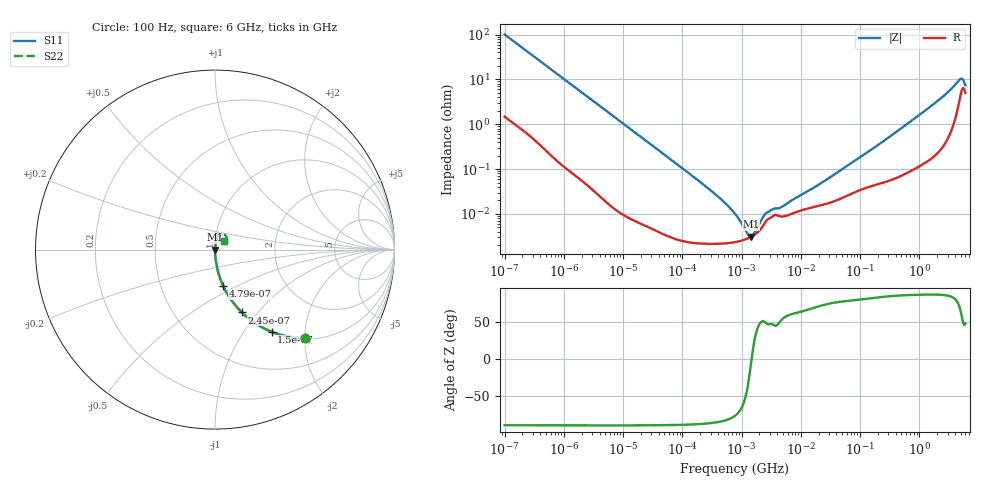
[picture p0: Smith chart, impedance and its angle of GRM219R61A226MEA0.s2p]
!Murata Part Number: GRM219R61A226MEA0
!These Parameters are Measured in Series Mode Connection
!Data Generated on Mar 30, 2021
!  o--ll--o
!Port1  Port2
!  o------o
!Operation Temp=25[degC], DC Bias Voltage=0[V]
!Freq. Start=100[Hz] Stop=6[GHz] 401[Steps]
# Hz S RI R 50
!Freq.(Hz) S11(Real) S11(Imag) S21(Real) S21(Imag) S12(Real) S12(Imag) S22(Real) S22(Imag)
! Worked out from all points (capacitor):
!   401 points, 100 Hz to 6 GHz, reference 50 ohm
!   read as one part in series: C = 15.8 uF near 109 Hz
!   lowest |Z| = 3.11 mohm at 1.45 MHz (marker M1)
!   series resonance near 1.476 MHz, so ESL is about 740 pH
!   S11 on the Smith chart (normalised r, x): 100 Hz: 1.03, -2.01; 150 Hz: 1.02, -1.35; 245 Hz: 1.01, -0.83; 479 Hz: 1.01, -0.43; 6 GHz: 1.10, +0.11
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100  0.5028 -0.4927  0.4972 0.4927  0.4972 0.4927  0.5028 -0.4927
150  0.3153 -0.4574  0.6847 0.4574  0.6847 0.4574  0.3153 -0.4574
245  0.1501 -0.35  0.8499 0.35  0.8499 0.35  0.1501 -0.35
479  0.0458 -0.2028  0.9542 0.2028  0.9542 0.2028  0.0458 -0.2028
938  0.013 -0.1078  0.987 0.1078  0.987 0.1078  0.013 -0.1078
2008  0.00317 -0.0511  0.9968 0.0511  0.9968 0.0511  0.00317 -0.0511
40335  4.6e-05 -0.00259  1 0.00259  1 0.00259  4.6e-05 -0.00259
302498  2.16e-05 -0.000333  1 0.000333  1 0.000333  2.16e-05 -0.000333
495019  2.2e-05 -0.000189  1 0.000189  1 0.000189  2.2e-05 -0.000189
774597  2.35e-05 -9.84e-05  1 9.84e-05  1 9.84e-05  2.35e-05 -9.84e-05
847162  2.41e-05 -8.33e-05  1 8.33e-05  1 8.33e-05  2.41e-05 -8.33e-05
1449809  3.1e-05 -2.5e-06  1 2.5e-06  1 2.5e-06  3.1e-05 -2.5e-06
2372521  5.8e-05 6.97e-05  0.9999 -6.97e-05  0.9999 -6.97e-05  5.8e-05 6.97e-05
3394479  9e-05 9.25e-05  0.9999 -9.25e-05  0.9999 -9.25e-05  9e-05 9.25e-05
4440638  8.87e-05 0.000104  0.9999 -0.000104  0.9999 -0.000104  8.87e-05 0.000104
1.555665e7  0.00014 0.00034  0.9999 -0.00034  0.9999 -0.00034  0.00014 0.00034
3.124326e8  0.00058 0.00519  0.9994 -0.00519  0.9994 -0.00519  0.00058 0.00519
1.95892e9  0.00315 0.0316  0.9968 -0.0316  0.9968 -0.0316  0.00315 0.0316
3.666503e9  0.0129 0.0642  0.9871 -0.0642  0.9871 -0.0642  0.0129 0.0642
4.796499e9  0.0421 0.0854  0.9579 -0.0854  0.9579 -0.0854  0.0421 0.0854
5.245841e9  0.0617 0.0764  0.9383 -0.0764  0.9383 -0.0764  0.0617 0.0764
6e9  0.0504 0.0495  0.9496 -0.0495  0.9496 -0.0495  0.0504 0.0495
